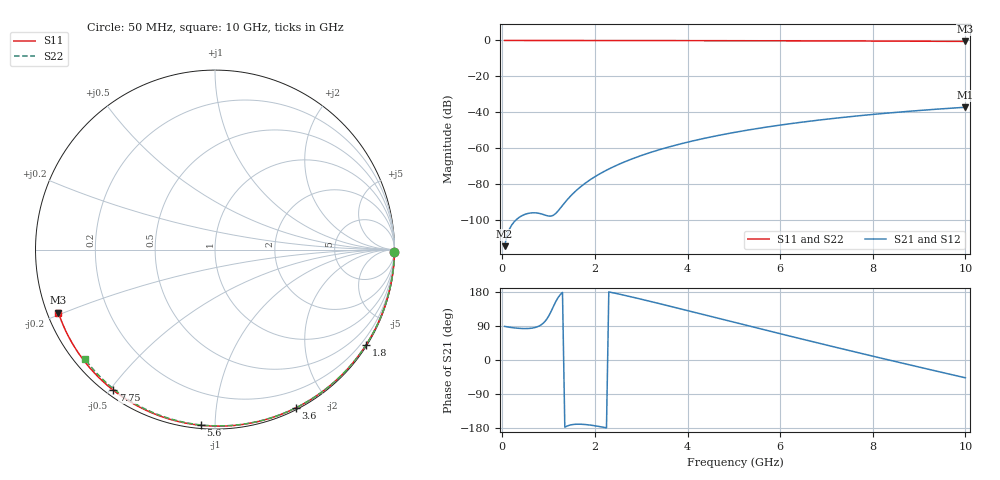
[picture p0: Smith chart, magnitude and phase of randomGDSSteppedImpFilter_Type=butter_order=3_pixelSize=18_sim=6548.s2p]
! freq	dB(S11)	phase(S11)	dB(S12)	phase(S12)
!  dB(S21)	phase(S21)	dB(S22)	phase(S22)
!S-par simulation data
#  GHz  S  DB  R 50
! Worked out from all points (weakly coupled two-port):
!   200 points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, 50 MHz to 10 GHz, reference 50 ohm
!   highest |S21| = -37.24 dB at 10 GHz (marker M1); lowest = -114.7 dB at 50 MHz (marker M2)
!   lowest |S11| = -0.5 dB at 10 GHz (marker M3), VSWR 32.77, Z = 1.58 - j9.7 ohm
!   |S11| at or under -10 dB: nowhere
!   |S22| runs from -0.5 to 0.0 dB; largest |S21 - S12| = 0
!   S11 on the Smith chart (normalised r, x): 50 MHz: open; 1.8 GHz: 0.03, -3.44; 3.6 GHz: 0.02, -1.63; 5.6 GHz: 0.02, -0.92; 7.75 GHz: 0.02, -0.51; 10 GHz: 0.03, -0.19
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0.05  -0.00 -0.9  -114.70 88.7  -114.70 88.7  -0.00 -0.8
0.45  -0.01 -8.2  -97.38 83.0  -97.38 83.0  -0.01 -7.3
0.9  -0.02 -16.4  -97.17 98.9  -97.17 98.9  -0.02 -14.5
1.3  -0.03 -23.5  -91.97 178.3  -91.97 178.3  -0.03 -20.8
1.75  -0.04 -31.5  -80.39 -169.8  -80.39 -169.8  -0.04 -27.9
1.8  -0.04 -32.4  -79.43 -170.3  -79.43 -170.3  -0.04 -28.7
1.95  -0.04 -35.0  -76.78 -172.6  -76.78 -172.6  -0.04 -31.0
2.1  -0.05 -37.6  -74.44 -175.6  -74.44 -175.6  -0.04 -33.3
2.3  -0.05 -41.1  -71.68 179.7  -71.68 179.7  -0.05 -36.4
2.5  -0.06 -44.6  -69.25 174.5  -69.25 174.5  -0.05 -39.5
2.9  -0.07 -51.4  -65.09 163.3  -65.09 163.3  -0.06 -45.6
3.4  -0.08 -59.8  -60.85 148.6  -60.85 148.6  -0.07 -53.1
3.6  -0.08 -63.1  -59.37 142.5  -59.37 142.5  -0.08 -56.0
4.3  -0.11 -74.4  -54.92 121.2  -54.92 121.2  -0.09 -66.2
5.05  -0.13 -86.2  -51.09 98.2  -51.09 98.2  -0.12 -76.7
5.6  -0.16 -94.5  -48.72 81.5  -48.72 81.5  -0.14 -84.2
6.15  -0.18 -102.8  -46.65 64.9  -46.65 64.9  -0.16 -91.6
6.7  -0.22 -110.8  -44.82 48.4  -44.82 48.4  -0.19 -98.8
7.75  -0.29 -125.9  -41.86 17.4  -41.86 17.4  -0.26 -112.2
8.35  -0.35 -134.4  -40.43 -0.0  -40.43 -0.0  -0.31 -119.7
9.2  -0.43 -146.5  -38.66 -24.4  -38.66 -24.4  -0.39 -130.2
10  -0.53 -158.0  -37.24 -47.0  -37.24 -47.0  -0.47 -140.0
